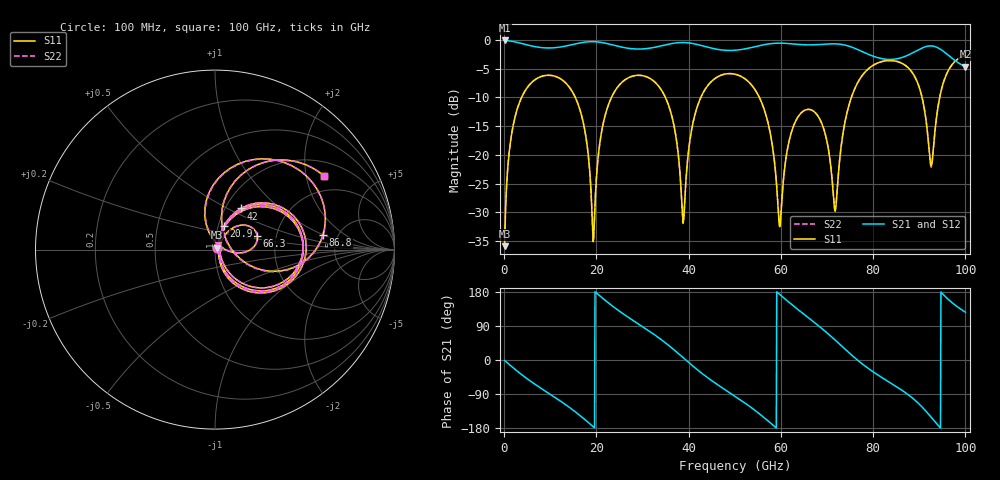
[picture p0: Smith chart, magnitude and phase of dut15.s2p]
! Touchstone file exported from HFSS 2026.1.0
!  File:  C:/ffzhzh/LocalFiles/Ansys_Project_Files/temp_train_TSV_RDL_15_1783613605_33328.aedt
!  Generated:  12:21:03 AM Jul 10, 2026
!  Design:  TSV_RDL
!  Project:  temp_train_TSV_RDL_15_1783613605_33328
! Variables:
!  h_bsmrdl = 4.59um
!  h_ox = 20um
!  h_rdl = 5um
!  h_sub = 98.13um
!  h_tmrdl = 2.97um
!  h_tsv = 98.13um
!  h_via = 3um
!  l_bsmrdl = 247.71um
!  l_sub = 2800.47um
!  l_tmrdl = 383um
!  m_sub = 200um
!  pitch = 56.82um
!  r_tsv = 11.61um
!  s_tmrdl = 10um
!  w_bsmrdl = 13.27um
!  w_sub = 500um
!  w_tmrdl = 28.51um
!  x_tsv_center1 = 397.255um
!  x_tsv_center2 = 658.235um
!  x_tsv_center3 = 1069.745um
!  x_tsv_center4 = 1330.725um
!  x_tsv_center5 = 1742.235um
!  x_tsv_center6 = 2003.215um
# GHz S MA R 50.000000
! Terminal data exported
! Port[1] = TM_RDL1_1_T1
! Port[2] = TM_RDL5_1_T1
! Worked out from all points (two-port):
!   1000 points, 100 MHz to 100 GHz, reference 50 ohm
!   highest |S21| = -0.11 dB at 100 MHz (marker M1); lowest = -4.7 dB at 100 GHz (marker M2)
!   |S21| within 3 dB of the highest: start of sweep to 81.02 GHz; 86.11 GHz to 96.97 GHz (10.86 GHz wide, 11.9 % of centre)
!   lowest |S11| = -35.9 dB at 100 MHz (marker M3), VSWR 1.03, Z = 51.2 + j1.04 ohm
!   |S11| at or under -10 dB: 15.42 GHz to 23.28 GHz (7.862 GHz wide, 40.6 % of centre); 34.95 GHz to 42.65 GHz (7.699 GHz wide, 19.8 % of centre); 55.32 GHz to 75.28 GHz (19.96 GHz wide, 30.6 % of centre) (the widest 3 of 5)
!   |S22| runs from -35.9 to -2.7 dB; largest |S21 - S12| = 5.5e-14
!   S11 on the Smith chart (normalised r, x): 100 MHz: 1.02, +0.02; 20.9 GHz: 1.07, +0.28; 42 GHz: 1.18, +0.59; 66.3 GHz: 1.59, +0.26; 86.8 GHz: 3.81, +0.98; 100 GHz: 1.45, +2.55
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0.1  0.01607 39.2  0.9877 -1.1  0.9877 -1.1  0.01607 39.2
! Gamma 0 0 0 0
! Port Impedance 50 0 50 0
1.7  0.1583 66.0  0.9707 -17.9  0.9707 -17.9  0.1583 66.0
4.9  0.3792 38.4  0.9057 -48.7  0.9057 -48.7  0.3793 38.5
16.8  0.2186 -57.7  0.9454 -150.1  0.9454 -150.1  0.2187 -57.7
19.3  0.01758 -6.3  0.964 -175.8  0.964 -175.8  0.01779 -6.3
20.9  0.14 69.3  0.9518 167.6  0.9518 167.6  0.14 69.2
33.4  0.3999 -29.3  0.8742 59.7  0.8742 59.7  0.3999 -29.2
38.8  0.0257 0.8  0.9475 6.2  0.9475 6.2  0.02533 0.7
42  0.2718 57.6  0.908 -26.8  0.908 -26.8  0.2717 57.7
50.1  0.502 -6.3  0.8121 -96.0  0.8121 -96.0  0.5021 -6.1
56.5  0.2397 -58.5  0.91 -153.5  0.91 -153.5  0.24 -58.0
59.7  0.02377 -13.4  0.9359 173.4  0.9359 173.4  0.02541 -12.8
62.3  0.1582 50.3  0.9234 146.9  0.9234 146.9  0.1585 49.9
66.3  0.2476 18.4  0.904 108.3  0.904 108.3  0.248 18.4
66.7  0.2445 15.1  0.9043 104.5  0.9043 104.5  0.2449 15.2
71.8  0.03244 55.2  0.9228 52.3  0.9228 52.3  0.03427 54.4
75.6  0.3428 93.4  0.8569 10.3  0.8569 10.3  0.3428 93.0
83.4  0.6603 31.8  0.6754 -57.7  0.6754 -57.7  0.6603 31.6
86.8  0.6066 7.7  0.7148 -84.4  0.7148 -84.4  0.6067 7.5
92.6  0.08033 28.8  0.8854 -151.2  0.8854 -151.2  0.0782 28.5
95.4  0.4457 70.3  0.7858 170.4  0.7858 170.4  0.4452 70.4
100  0.7331 33.9  0.585 126.2  0.585 126.2  0.733 33.9
